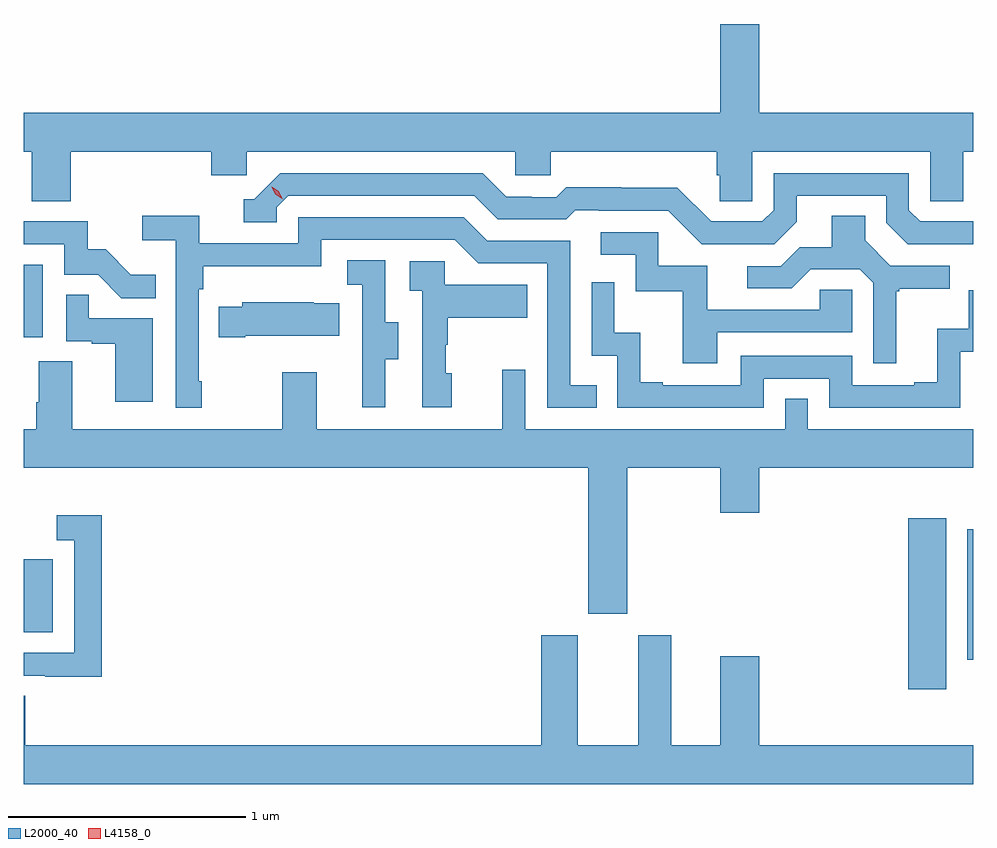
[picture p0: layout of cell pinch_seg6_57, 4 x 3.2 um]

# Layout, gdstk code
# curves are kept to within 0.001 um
import gdstk
lib = gdstk.Library(unit=1e-6, precision=1e-09)
def R(c, l, rs):  # rectangles x0, y0, x1, y1
    for r in rs: c.add(gdstk.rectangle(r[:2], r[2:], *l))
def P(c, l, *ps):  # polygons
    for p in ps: c.add(gdstk.Polygon(p, *l))
L2000_40 = (2000, 40)
L4158_0 = (4158, 0)

pinch_seg6_57 = lib.new_cell('pinch_seg6_57')
R(pinch_seg6_57, L2000_40, [(957.008,935.748,957.169,936.469), (957.258,935.871,957.282,936.422), (953.282,935.988,953.404,936.295), (953.282,937.23,953.362,937.537)])
P(pinch_seg6_57, L2000_40, [(953.282,938.012),(953.315,938.012),(953.315,937.804),(953.48,937.804),(953.48,938.012),(954.071,938.012),(954.071,937.914),(954.222,937.914),(954.222,938.012),(955.353,938.012),(955.353,937.914),(955.503,937.914),(955.503,938.012),(956.201,938.012),(956.201,937.914),(956.215,937.914),(956.215,937.804),(956.352,937.804),(956.352,938.012),(957.102,938.012),(957.102,937.804),(957.241,937.804),(957.241,938.012),(957.282,938.012),(957.282,938.176),(956.38,938.176),(956.38,938.551),(956.216,938.551),(956.216,938.176),(953.282,938.176)],
  [(957.282,937.719),(957.06,937.719),(957.012,937.767),(957.012,937.923),(956.442,937.923),(956.442,937.767),(956.394,937.719),(956.178,937.719),(956.036,937.861),(955.8,937.861),(955.8,937.864),(955.567,937.864),(955.525,937.821),(955.422,937.821),(955.422,937.824),(955.315,937.824),(955.216,937.923),(954.363,937.923),(954.252,937.812),(954.209,937.812),(954.209,937.716),(954.348,937.716),(954.348,937.779),(954.396,937.827),(955.179,937.827),(955.278,937.728),(955.567,937.728),(955.606,937.767),(955.705,937.767),(955.705,937.764),(955.998,937.764),(956.139,937.623),(956.445,937.623),(956.539,937.717),(956.539,937.827),(956.916,937.827),(956.916,937.713),(957.006,937.623),(957.282,937.622)],
  [(954.031,937.045),(954.018,937.045),(954.018,937.433),(954.038,937.433),(954.038,937.529),(954.534,937.529),(954.534,937.641),(955.098,937.641),(955.197,937.542),(955.488,937.542),(955.488,936.933),(955.697,936.933),(955.697,937.029),(955.584,937.029),(955.584,937.638),(955.234,937.638),(955.135,937.737),(954.438,937.737),(954.438,937.626),(954.02,937.626),(954.02,937.742),(953.781,937.742),(953.781,937.64),(953.922,937.64),(953.922,936.933),(954.031,936.933)],
  [(956.959,937.425),(956.971,937.425),(956.971,937.436),(957.184,937.436),(957.184,937.533),(956.934,937.533),(956.827,937.64),(956.827,937.742),(956.687,937.742),(956.687,937.61),(956.552,937.61),(956.472,937.53),(956.331,937.53),(956.331,937.437),(956.518,937.437),(956.599,937.518),(956.805,937.518),(956.862,937.461),(956.862,937.122),(956.959,937.122)],
  [(953.837,937.495),(953.733,937.495),(953.626,937.602),(953.55,937.602),(953.55,937.719),(953.282,937.719),(953.282,937.623),(953.451,937.623),(953.451,937.494),(953.595,937.494),(953.693,937.396),(953.837,937.396)],
  [(956.203,937.251),(956.772,937.251),(956.772,937.431),(956.635,937.431),(956.635,937.347),(956.161,937.347),(956.161,937.533),(955.956,937.533),(955.956,937.674),(955.713,937.674),(955.713,937.578),(955.86,937.578),(955.86,937.425),(956.059,937.425),(956.059,937.122),(956.203,937.122)],
  [(954.805,937.138),(954.859,937.138),(954.859,937.293),(954.804,937.293),(954.804,937.556),(954.645,937.556),(954.645,937.453),(954.708,937.453),(954.708,937.149),(954.707,937.149),(954.707,936.936),(954.805,936.936)],
  [(955.084,937.08),(955.059,937.08),(955.059,937.199),(955.069,937.199),(955.069,937.313),(955.403,937.313),(955.403,937.453),(955.056,937.453),(955.056,937.551),(954.909,937.551),(954.909,937.427),(954.96,937.427),(954.96,936.936),(955.084,936.936)],
  [(956.4,937.056),(956.676,937.056),(956.676,936.933),(957.228,936.933),(957.228,937.169),(957.282,937.169),(957.282,937.428),(957.264,937.428),(957.264,937.267),(957.131,937.267),(957.131,937.042),(957.035,937.042),(957.035,937.029),(956.772,937.029),(956.772,937.152),(956.304,937.152),(956.304,937.029),(955.975,937.029),(955.975,937.042),(955.88,937.042),(955.88,937.25),(955.77,937.25),(955.77,937.462),(955.674,937.462),(955.674,937.152),(955.782,937.152),(955.782,936.933),(956.4,936.933)],
  [(953.824,937.311),(953.555,937.311),(953.555,937.409),(953.46,937.409),(953.46,937.215),(953.567,937.215),(953.567,937.203),(953.666,937.203),(953.666,936.96),(953.824,936.96)],
  [(954.214,937.238),(954.611,937.238),(954.611,937.375),(954.503,937.375),(954.503,937.378),(954.201,937.378),(954.201,937.36),(954.103,937.36),(954.103,937.231),(954.214,937.231)],
  [(955.825,936.68),(956.216,936.68),(956.216,936.492),(956.38,936.492),(956.38,936.68),(957.282,936.68),(957.282,936.844),(956.586,936.844),(956.586,936.971),(956.49,936.971),(956.49,936.844),(955.395,936.844),(955.395,937.093),(955.298,937.093),(955.298,936.844),(954.517,936.844),(954.517,937.084),(954.37,937.084),(954.37,936.844),(953.485,936.844),(953.485,937.13),(953.345,937.13),(953.345,936.956),(953.333,936.956),(953.333,936.844),(953.282,936.844),(953.282,936.68),(955.661,936.68),(955.661,936.066),(955.825,936.066)],
  [(953.609,936.481),(953.421,936.481),(953.421,936.375),(953.493,936.375),(953.493,935.901),(953.282,935.901),(953.282,935.805),(953.371,935.805),(953.371,935.8),(953.609,935.8)],
  [(957.282,935.512),(956.38,935.512),(956.38,935.887),(956.216,935.887),(956.216,935.512),(956.011,935.512),(956.011,935.974),(955.871,935.974),(955.871,935.512),(955.615,935.512),(955.615,935.974),(955.463,935.974),(955.463,935.512),(953.288,935.512),(953.288,935.72),(953.282,935.72),(953.282,935.348),(957.282,935.348)])
P(pinch_seg6_57, L4158_0, [(954.372,937.813),(954.341,937.833),(954.326,937.866),(954.326,937.866),(954.326,937.866),(954.356,937.846),(954.372,937.813),(954.372,937.813)])

lib.write_gds('pinch_seg6_57.gds')
